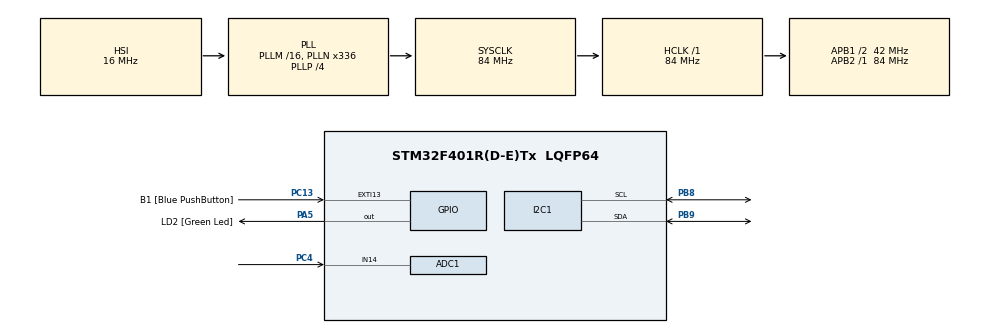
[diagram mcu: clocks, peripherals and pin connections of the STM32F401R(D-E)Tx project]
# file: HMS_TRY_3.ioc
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ADC1.Channel-0\#ChannelRegularConversion=ADC_CHANNEL_14
ADC1.ContinuousConvMode=ENABLE
ADC1.NbrOfConversionFlag=1
ADC1.Rank-0\#ChannelRegularConversion=1
ADC1.SamplingTime-0\#ChannelRegularConversion=ADC_SAMPLETIME_3CYCLES
ADC1.master=1
Mcu.Family=STM32F4
Mcu.Name=STM32F401R(D-E)Tx
Mcu.Package=LQFP64
NVIC.PriorityGroup=NVIC_PRIORITYGROUP_0
PA13.GPIO_Label=TMS
PA13.Mode=Serial_Wire
PA13.Signal=SYS_JTMS-SWDIO
PA14.GPIO_Label=TCK
PA14.Mode=Serial_Wire
PA14.Signal=SYS_JTCK-SWCLK
PA5.GPIO_Label=LD2 [Green Led]
PA5.GPIO_Mode=GPIO_MODE_OUTPUT_PP
PA5.GPIO_PuPd=GPIO_NOPULL
PA5.GPIO_Speed=GPIO_SPEED_FREQ_LOW
PA5.Signal=GPIO_Output
PB3.GPIO_Label=SWO
PB3.Signal=SYS_JTDO-SWO
PB8.GPIO_Pu=GPIO_PULLUP
PB8.Mode=I2C
PB8.Signal=I2C1_SCL
PB9.GPIO_Pu=GPIO_PULLUP
PB9.Mode=I2C
PB9.Signal=I2C1_SDA
PC13-ANTI_TAMP.GPIO_Label=B1 [Blue PushButton]
PC13-ANTI_TAMP.GPIO_ModeDefaultEXTI=GPIO_MODE_IT_FALLING
PC13-ANTI_TAMP.GPIO_PuPd=GPIO_NOPULL
PC13-ANTI_TAMP.Signal=GPXTI13
PC14-OSC32_IN.Mode=LSE-External-Oscillator
PC14-OSC32_IN.Signal=RCC_OSC32_IN
PC15-OSC32_OUT.Mode=LSE-External-Oscillator
PC15-OSC32_OUT.Signal=RCC_OSC32_OUT
PC4.Signal=ADCx_IN14
PH0\ -\ OSC_IN.Mode=HSE-External-Clock-Source
PH0\ -\ OSC_IN.Signal=RCC_OSC_IN
PH1\ -\ OSC_OUT.Mode=HSE-External-Clock-Source
PH1\ -\ OSC_OUT.Signal=RCC_OSC_OUT
ProjectManager.HeapSize=0x200
ProjectManager.StackSize=0x400
ProjectManager.TargetToolchain=STM32CubeIDE
RCC.48MHZClocksFreq_Value=48000000
RCC.AHBFreq_Value=84000000
RCC.APB1CLKDivider=RCC_HCLK_DIV2
RCC.APB1Freq_Value=42000000
RCC.APB1TimFreq_Value=84000000
RCC.APB2Freq_Value=84000000
RCC.APB2TimFreq_Value=84000000
RCC.CortexFreq_Value=84000000
RCC.HCLKFreq_Value=84000000
RCC.HSE_VALUE=8000000
RCC.HSI_VALUE=16000000
RCC.PLLN=336
RCC.PLLP=RCC_PLLP_DIV4
RCC.PLLQ=7
RCC.SYSCLKFreq_VALUE=84000000
RCC.SYSCLKSource=RCC_SYSCLKSOURCE_PLLCLK
RCC.VCOOutputFreq_Value=336000000
SH.ADCx_IN14.0=ADC1_IN14,IN14
board=NUCLEO-F401RE

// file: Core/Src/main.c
/* USER CODE BEGIN Header */
/**
 ******************************************************************************
 * @file           : main.c
 * @brief          : Main program body
 ******************************************************************************
 * @attention
 *
 * Copyright (c) 2023 STMicroelectronics.
 * All rights reserved.
 *
 * This software is licensed under terms that can be found in the LICENSE file
 * in the root directory of this software component.
 * If no LICENSE file comes with this software, it is provided AS-IS.
 *
 ******************************************************************************
 */
/* USER CODE END Header */
#include "main.h"

/* USER CODE BEGIN Includes */
#include "BML_DEF.h"
#include "uart.h"
#include "MLX90614.h"
#include "max30100.h"
#include "st7783.h"
/* USER CODE END Includes */

/* USER CODE BEGIN PD */
#define PRINT_CHAR_LEN	100
/* USER CODE END PD */

/* USER CODE BEGIN PM */
#define BEAT_COUNTER_LIMIT	25
#define HR_BEAT_TIMEOUT		60000

#define graphRefreshRate_peak			2
#define graphRefreshRate_normal			5
/* USER CODE END PM */

ADC_HandleTypeDef hadc1;

I2C_HandleTypeDef hi2c1;

/* USER CODE BEGIN PV */

char globalStr[25] = { '\0' };
float globalTemp = 1.00;
int globalHR = 1;
int globalSpO2 = 1;
int globalECG = 1;

int8_t menu_select_flag = -1;

//======== MLX90614 Variables ==========//
float temp = 0;
//======================================//

//=========== ECG Variables ============//
int16_t adcData = 0;
int16_t adcDataPrev = 0;
int ECG_HR = 0;
//======================================//

//======== MAX30100 Variables ==========//
max30100_config_t max30100 = { 0 };
uint8_t beatCounter = 0;
int16_t finalHR = 0;
int16_t finalSpO2 = 0;
uint16_t hrBeatTimer = 0;

bool max30100_off = true;
bool max30100_on = false;
//======================================//

const int graph_x0 = 30;
const int graph_y0 = (2 * (TFTHEIGHT / 3)) + 30;
const int graph_x1 = 30;
const int graph_y1 = graph_y0 + 50;
const int graph_x2 = graph_x0 + TFTWIDTH - 95;
const int graph_y2 = graph_y0;
const int graph_x3 = graph_x0 + TFTWIDTH - 95;
const int graph_y3 = graph_y0 + 50;
int graph_x = graph_x0;
int graph_y = 0;
int graph_y_prevVal = 0;
int graph_refresh_x = graph_x0;

/* USER CODE END PV */

void SystemClock_Config(void);
static void MX_GPIO_Init(void);
static void MX_I2C1_Init(void);
static void MX_ADC1_Init(void);
/* USER CODE BEGIN PFP */
void HMS_bgdisplay(void);

void LCD_ECGAnimation();
void ecgPeak();
void ecgLine();
/* USER CODE END PFP */

int main(void) {

	/* MCU Configuration--------------------------------------------------------*/

	/* Reset of all peripherals, Initializes the Flash interface and the Systick. */
	HAL_Init();

	/* Configure the system clock */
	SystemClock_Config();

	/* Initialize all configured peripherals */
	MX_GPIO_Init();
	MX_I2C1_Init();
	MX_ADC1_Init();
	/* USER CODE BEGIN 2 */
	uart_print_config(9600);
	USART_INIT(USART6, PORTA, PORTA, 11, 12, 115200);
//  USART_IT_EN(USART6, 0, 1, 0);
	print("Working\r\n");

	LCD_Begin();
	LCD_SetRotation(0);
	//	LCD_FillScreen(BLACK);
	colorgradient(0, 0, TFTWIDTH, TFTHEIGHT, 50);
	HMS_bgdisplay();

	gpio_config(PORTC, 9, INPUT_MODE, LOW_SPEED, EN_PU, PHPL);
	gpio_IT_config(PORTC, 9, FALLING_EDGE);
	gpio_IT_EN(9, EXTI9_5_IRQn);

	uint8_t mlx90614_workingFlag = 1, mlx90614_status = 0;

	char print_char[PRINT_CHAR_LEN] = { 0 };

	if (!(mlx90614_init())) {
		print("Error in MLX90614 INIT\n");
		mlx90614_workingFlag = 0;
	}

	uint32_t max30100_startTime = HAL_GetTick(), max30100_lapsedTime = 500;
	uint32_t temp_startTime = HAL_GetTick(), temp_lapsedTime = 500;
	uint32_t ecg_startTime = HAL_GetTick(), ecg_lapsedTime = 60000;
	uint32_t wifi_startTime = HAL_GetTick(), wifi_lapsedTime = 2000;
	max30100_data_t result = { };

	/* USER CODE END 2 */

	/* Infinite loop */
	/* USER CODE BEGIN WHILE */
	while (1) {
		if (menu_select_flag == 0) {
			if (mlx90614_workingFlag == 1) {
				mlx90614_status = mlx90614_getObject1(&temp);
				if ((mlx90614_status == true)
						&& ((HAL_GetTick() - temp_startTime) > temp_lapsedTime)) {
					print("Temp in Celsius: = %0.2f\n", temp);
					if ((temp > 0) && (temp < 100)) {
						LCD_SetTextColor(WHITE, BLUE);
						LCD_SetCursor(130, (TFTHEIGHT / 3) + 80);
						LCD_SetTextSize(2);
						LCD_Printf("%0.2f'C", temp);
						globalTemp = temp;
					}
					temp_startTime = HAL_GetTick();
//					Delay(500);
				} else {
					mlx90614_workingFlag = 0;
				}
			} else {
				if (!(mlx90614_init())) {
					print("Error in MLX90614 INIT\n");
					MX_I2C1_Init();
					Delay(500);
					mlx90614_workingFlag = 0;
				} else {
					mlx90614_workingFlag = 1;
				}
			}
		} else if (menu_select_flag == 1) {
			if (max30100_update(&max30100, &result) != HAL_OK) {
				print("Error Reading...Retrying\n");
				MX_I2C1_Init();
				max30100_init(&max30100, &hi2c1,
				MAX30100_DEFAULT_OPERATING_MODE,
				MAX30100_DEFAULT_SAMPLING_RATE,
				MAX30100_DEFAULT_LED_PULSE_WIDTH,
				MAX30100_DEFAULT_IR_LED_CURRENT,
				MAX30100_DEFAULT_START_RED_LED_CURRENT,
				MAX30100_DEFAULT_MEAN_FILTER_SIZE,
				MAX30100_DEFAULT_PULSE_BPM_SAMPLE_SIZE,
				true,
				false);
//				max30100_resume(&max30100);
				Delay(1000);
			} else {
				if (max30100_off) {
					max30100_resume(&max30100);
					max30100_off = false;
					max30100_on = true;
				}
				hrBeatTimer = HAL_GetTick();
				if (result.pulse_detected) {
					print("BEAT: %d\n", beatCounter++);
				}
				if (HAL_GetTick() - max30100_startTime > max30100_lapsedTime) {
					if (result.ir_dc_value < 10000.00) {
						print("No finger Detected\n");
						max30100.current_bpm = 0.0;
						max30100.current_spO2 = 0.0;
					} else {
						if (beatCounter < BEAT_COUNTER_LIMIT) {
							print("BPM: %0.2f | SpO2: %0.2f%%\n",
									result.heart_bpm, result.spO2);
						} else if (beatCounter > BEAT_COUNTER_LIMIT) {
							finalHR = result.heart_bpm;
							finalSpO2 = result.spO2;
							print(
									"//===============| Final HR: %d | SpO2: %d%%|==============//\n",
									finalHR, finalSpO2);
							beatCounter = 0;

							if ((finalHR > 0) && (finalHR < 100)) {
								globalHR = finalHR;
								LCD_SetTextColor(WHITE, RED);
								LCD_SetCursor(155, (TFTHEIGHT / 3) + 20);
								LCD_SetTextSize(2);
								LCD_Printf("%dBPM", globalHR);
							}
							if ((finalSpO2 > 0) && (finalSpO2 < 100)) {
								globalSpO2 = finalSpO2;
								LCD_SetTextColor(WHITE, GREEN);
								LCD_SetCursor(175, (TFTHEIGHT / 3) + 50);
								LCD_Printf("%d%%", finalSpO2);
							}
						}
//						else if ((HAL_GetTick() - hrBeatTimer)
//								> HR_BEAT_TIMEOUT) {
//							print("Error Calculating...\n\r");
//							print("Please reposition your finger\n\r");
//						}

					}

					max30100_startTime = HAL_GetTick();
				}
				HAL_Delay(10);

//				print("%0.2f, %0.2f\n", result.dc_filtered_ir,
//						result.dc_filtered_red);
			}
		} else if (menu_select_flag == 2) {
			if (max30100_on) {
				max30100_shutdown(&max30100);
				HAL_I2C_DeInit(&hi2c1);
				max30100_off = true;
				max30100_on = false;
			}
			adcDataPrev = adcData;
			HAL_ADC_Start(&hadc1);
			HAL_ADC_PollForConversion(&hadc1, 100);
			adcData = (uint16_t) HAL_ADC_GetValue(&hadc1);
			sprintf(print_char, "Analog Val: %d\n", adcData);
			USART_WRITE(USART2, print_char, strlen(print_char), 10);

			if ((adcData - adcDataPrev) > 800) {
				ECG_HR += 1;
			}

//			LCD_ECGAnimation();

			if ((HAL_GetTick() - ecg_startTime) > ecg_lapsedTime) {
				if ((ECG_HR > 0) && (ECG_HR < 100))
					globalECG = ECG_HR;

				sprintf(print_char,
						"<===========|The ECG Heart Rate is: %d|=========>\r\n",
						ECG_HR);
				USART_WRITE(USART2, print_char, strlen(print_char), 10);
				LCD_SetTextColor(BLACK, WHITE);
				LCD_SetCursor(190, 270);
				LCD_SetTextSize(2);
				if (globalECG < 10)
					LCD_Printf(" %d", globalECG);
				else if(globalECG < 100)
					LCD_Printf("%d", globalECG);
				ECG_HR = 0;
				LCD_ECGAnimation();
				ecg_startTime = HAL_GetTick();
			}

		} else if ((menu_select_flag < -1) && (menu_select_flag > 3)) {
			menu_select_flag = -1;
			print("Oh no, a Glitch!!\n\r");
			Delay(500);
			print("We're good\n\r");
			Delay(500);
		}

		if ((HAL_GetTick() - wifi_startTime) > wifi_lapsedTime) {
			sprintf(globalStr, "T:%0.2f|H:%d|S:%d|E:%d\r\n", globalTemp,
					globalHR, globalSpO2, globalECG);
			USART_WRITE(USART6, globalStr, strlen(globalStr), 10);
			wifi_startTime = HAL_GetTick();
		}

		/* USER CODE END WHILE */

	}
}

void SystemClock_Config(void) {
	RCC_OscInitTypeDef RCC_OscInitStruct = { 0 };
	RCC_ClkInitTypeDef RCC_ClkInitStruct = { 0 };

	/** Configure the main internal regulator output voltage
	 */
	__HAL_RCC_PWR_CLK_ENABLE();
	__HAL_PWR_VOLTAGESCALING_CONFIG(PWR_REGULATOR_VOLTAGE_SCALE2);

	/** Initializes the RCC Oscillators according to the specified parameters
	 * in the RCC_OscInitTypeDef structure.
	 */
	RCC_OscInitStruct.OscillatorType = RCC_OSCILLATORTYPE_HSI;
	RCC_OscInitStruct.HSIState = RCC_HSI_ON;
	RCC_OscInitStruct.HSICalibrationValue = RCC_HSICALIBRATION_DEFAULT;
	RCC_OscInitStruct.PLL.PLLState = RCC_PLL_ON;
	RCC_OscInitStruct.PLL.PLLSource = RCC_PLLSOURCE_HSI;
	RCC_OscInitStruct.PLL.PLLM = 16;
	RCC_OscInitStruct.PLL.PLLN = 336;
	RCC_OscInitStruct.PLL.PLLP = RCC_PLLP_DIV4;
	RCC_OscInitStruct.PLL.PLLQ = 7;
	if (HAL_RCC_OscConfig(&RCC_OscInitStruct) != HAL_OK) {
		Error_Handler();
	}

	/** Initializes the CPU, AHB and APB buses clocks
	 */
	RCC_ClkInitStruct.ClockType = RCC_CLOCKTYPE_HCLK | RCC_CLOCKTYPE_SYSCLK
			| RCC_CLOCKTYPE_PCLK1 | RCC_CLOCKTYPE_PCLK2;
	RCC_ClkInitStruct.SYSCLKSource = RCC_SYSCLKSOURCE_PLLCLK;
	RCC_ClkInitStruct.AHBCLKDivider = RCC_SYSCLK_DIV1;
	RCC_ClkInitStruct.APB1CLKDivider = RCC_HCLK_DIV2;
	RCC_ClkInitStruct.APB2CLKDivider = RCC_HCLK_DIV1;

	if (HAL_RCC_ClockConfig(&RCC_ClkInitStruct, FLASH_LATENCY_2) != HAL_OK) {
		Error_Handler();
	}
}

static void MX_ADC1_Init(void) {

	ADC_ChannelConfTypeDef sConfig = { 0 };

	/** Configure the global features of the ADC (Clock, Resolution, Data Alignment and number of conversion)
	 */
	hadc1.Instance = ADC1;
	hadc1.Init.ClockPrescaler = ADC_CLOCK_SYNC_PCLK_DIV4;
	hadc1.Init.Resolution = ADC_RESOLUTION_12B;
	hadc1.Init.ScanConvMode = DISABLE;
	hadc1.Init.ContinuousConvMode = ENABLE;
	hadc1.Init.DiscontinuousConvMode = DISABLE;
	hadc1.Init.ExternalTrigConvEdge = ADC_EXTERNALTRIGCONVEDGE_NONE;
	hadc1.Init.ExternalTrigConv = ADC_SOFTWARE_START;
	hadc1.Init.DataAlign = ADC_DATAALIGN_RIGHT;
	hadc1.Init.NbrOfConversion = 1;
	hadc1.Init.DMAContinuousRequests = DISABLE;
	hadc1.Init.EOCSelection = ADC_EOC_SINGLE_CONV;
	if (HAL_ADC_Init(&hadc1) != HAL_OK) {
		Error_Handler();
	}

	/** Configure for the selected ADC regular channel its corresponding rank in the sequencer and its sample time.
	 */
	sConfig.Channel = ADC_CHANNEL_14;
	sConfig.Rank = 1;
	sConfig.SamplingTime = ADC_SAMPLETIME_3CYCLES;
	if (HAL_ADC_ConfigChannel(&hadc1, &sConfig) != HAL_OK) {
		Error_Handler();
	}

}

static void MX_I2C1_Init(void) {

	hi2c1.Instance = I2C1;
	hi2c1.Init.ClockSpeed = 100000;
	hi2c1.Init.DutyCycle = I2C_DUTYCYCLE_2;
	hi2c1.Init.OwnAddress1 = 0;
	hi2c1.Init.AddressingMode = I2C_ADDRESSINGMODE_7BIT;
	hi2c1.Init.DualAddressMode = I2C_DUALADDRESS_DISABLE;
	hi2c1.Init.OwnAddress2 = 0;
	hi2c1.Init.GeneralCallMode = I2C_GENERALCALL_DISABLE;
	hi2c1.Init.NoStretchMode = I2C_NOSTRETCH_DISABLE;
	if (HAL_I2C_Init(&hi2c1) != HAL_OK) {
		Error_Handler();
	}

}

static void MX_GPIO_Init(void) {
	GPIO_InitTypeDef GPIO_InitStruct = { 0 };

	/* GPIO Ports Clock Enable */
	__HAL_RCC_GPIOC_CLK_ENABLE();
	__HAL_RCC_GPIOH_CLK_ENABLE();
	__HAL_RCC_GPIOA_CLK_ENABLE();
	__HAL_RCC_GPIOB_CLK_ENABLE();

	/*Configure GPIO pin Output Level */
	HAL_GPIO_WritePin(LD2_GPIO_Port, LD2_Pin, GPIO_PIN_RESET);

	/*Configure GPIO pin : B1_Pin */
	GPIO_InitStruct.Pin = B1_Pin;
	GPIO_InitStruct.Mode = GPIO_MODE_IT_FALLING;
	GPIO_InitStruct.Pull = GPIO_NOPULL;
	HAL_GPIO_Init(B1_GPIO_Port, &GPIO_InitStruct);

	/*Configure GPIO pin : LD2_Pin */
	GPIO_InitStruct.Pin = LD2_Pin;
	GPIO_InitStruct.Mode = GPIO_MODE_OUTPUT_PP;
	GPIO_InitStruct.Pull = GPIO_NOPULL;
	GPIO_InitStruct.Speed = GPIO_SPEED_FREQ_LOW;
	HAL_GPIO_Init(LD2_GPIO_Port, &GPIO_InitStruct);

}

/* USER CODE BEGIN 4 */

void HMS_bgdisplay(void) {

	//===================== | Border |===============================//
	for (uint16_t i = 5; i > 0; i--) {
		LCD_DrawRect(i, i, TFTWIDTH - 2 * i, TFTHEIGHT - 2 * i, WHITE);
	}

	LCD_DrawHBorder(0, TFTHEIGHT / 3, TFTWIDTH, WHITE, 5);
	LCD_DrawHBorder(0, 2 * (TFTHEIGHT / 3), TFTWIDTH, WHITE, 5);
	//===============================================================//

	//===================== | Box 1 |===============================//

	LCD_DrawButton1(" ", 20, 20, TFTWIDTH - 40, (TFTHEIGHT / 3) - 40, 10, CYAN,
	WHITE, 0, 2, 2, 2);

	LCD_SetTextSize(2);
	LCD_SetTextColor(WHITE, CYAN);
	LCD_SetCursor(((TFTWIDTH - 20) / 3) + 15, 25);
	LCD_Printf("Health");
	LCD_SetCursor(((TFTWIDTH - 20) / 3) - 10, 45);
	LCD_Printf("Monitoring");
	LCD_SetCursor(((TFTWIDTH - 20) / 3) + 15, 65);
	LCD_Printf("System");

	//===============================================================//

	//===================== | Box 2 |===============================//

	LCD_FillRoundRect(15, (TFTHEIGHT / 3) + 15, TFTWIDTH - 35, 25, 5, RED);
	LCD_SetTextColor(WHITE, RED);
	LCD_SetCursor(20, (TFTHEIGHT / 3) + 20);
	LCD_SetTextSize(2);
	LCD_Printf("H.Rate: ");

	LCD_FillRoundRect(15, (TFTHEIGHT / 3) + 45, TFTWIDTH - 35, 25, 5, GREEN);
	LCD_SetTextColor(WHITE, GREEN);
	LCD_SetCursor(20, (TFTHEIGHT / 3) + 50);
	LCD_SetTextSize(2);
	LCD_Printf("SpO2: ");

	LCD_FillRoundRect(15, (TFTHEIGHT / 3) + 75, TFTWIDTH - 35, 25, 5, BLUE);
	LCD_SetTextColor(WHITE, BLUE);
	LCD_SetCursor(20, (TFTHEIGHT / 3) + 80);
	LCD_SetTextSize(2);
	LCD_Printf("Temp: ");

	//===============================================================//

	//========================= | Box 3 |============================//

	LCD_FillRect(20, (2 * (TFTHEIGHT / 3)) + 20, TFTWIDTH - 35, 70, WHITE);

	//===============================================================//

	for(int i = 4; i > 0; i--)
		LCD_ECGAnimation();

	LCD_SetTextColor(BLACK, WHITE);
	LCD_SetCursor(180, 240);
	LCD_SetTextSize(2);
	LCD_Printf("ECG");

}

void ecgPeak() {
	LCD_DrawLine(graph_x, graph_y0 + 25, graph_x + graphRefreshRate_peak,
			graph_y0 + 25, RED);
	LCD_DrawLine(graph_x, graph_y0 + 26, graph_x + graphRefreshRate_peak,
			graph_y0 + 26, RED);
	graph_x += graphRefreshRate_peak;
	LCD_DrawLine(graph_x, graph_y0 + 25, graph_x + graphRefreshRate_peak,
			graph_y0 + 25, RED);
	LCD_DrawLine(graph_x, graph_y0 + 26, graph_x + graphRefreshRate_peak,
			graph_y0 + 26, RED);
	graph_x += graphRefreshRate_peak;
	LCD_DrawLine(graph_x, graph_y0 + 25, graph_x + graphRefreshRate_peak,
			graph_y0 + 25, RED);
	LCD_DrawLine(graph_x, graph_y0 + 26, graph_x + graphRefreshRate_peak,
			graph_y0 + 26, RED);
	graph_x += graphRefreshRate_peak;

	LCD_DrawLine(graph_x, graph_y0 + 25, graph_x + graphRefreshRate_peak,
			graph_y0 + 40, RED);
	LCD_DrawLine(graph_x, graph_y0 + 26, graph_x + graphRefreshRate_peak,
			graph_y0 + 41, RED);
	graph_x += graphRefreshRate_peak;
	LCD_DrawLine(graph_x, graph_y0 + 40, graph_x + graphRefreshRate_peak,
			graph_y0, RED);
	LCD_DrawLine(graph_x, graph_y0 + 41, graph_x + graphRefreshRate_peak,
			graph_y0 + 1, RED);
	graph_x += graphRefreshRate_peak;
	LCD_DrawLine(graph_x, graph_y0, graph_x + graphRefreshRate_peak,
			graph_y0 + 25, RED);
	LCD_DrawLine(graph_x, graph_y0 + 1, graph_x + graphRefreshRate_peak,
			graph_y0 + 26, RED);
	graph_x += graphRefreshRate_peak;

	LCD_DrawLine(graph_x, graph_y0 + 25, graph_x + graphRefreshRate_peak,
			graph_y0 + 25, RED);
	LCD_DrawLine(graph_x, graph_y0 + 26, graph_x + graphRefreshRate_peak,
			graph_y0 + 26, RED);
	graph_x += graphRefreshRate_peak;
	LCD_DrawLine(graph_x, graph_y0 + 25, graph_x + graphRefreshRate_peak,
			graph_y0 + 25, RED);
	LCD_DrawLine(graph_x, graph_y0 + 26, graph_x + graphRefreshRate_peak,
			graph_y0 + 26, RED);
	graph_x += graphRefreshRate_peak;
	LCD_DrawLine(graph_x, graph_y0 + 25, graph_x + graphRefreshRate_peak,
			graph_y0 + 25, RED);
	LCD_DrawLine(graph_x, graph_y0 + 26, graph_x + graphRefreshRate_peak,
			graph_y0 + 26, RED);
}

void ecgLine() {
	for (uint8_t i = 0; i < 3; i++) {
		LCD_DrawLine(graph_x, graph_y0 + 25, graph_x + graphRefreshRate_peak,
				graph_y0 + 25, RED);
		LCD_DrawLine(graph_x, graph_y0 + 26, graph_x + graphRefreshRate_peak,
				graph_y0 + 26, RED);
		graph_x += graphRefreshRate_peak;
		LCD_DrawLine(graph_x, graph_y0 + 25, graph_x + graphRefreshRate_peak,
				graph_y0 + 25, RED);
		LCD_DrawLine(graph_x, graph_y0 + 26, graph_x + graphRefreshRate_peak,
				graph_y0 + 26, RED);
		graph_x += graphRefreshRate_peak;
		LCD_DrawLine(graph_x, graph_y0 + 25, graph_x + graphRefreshRate_peak,
				graph_y0 + 25, RED);
		LCD_DrawLine(graph_x, graph_y0 + 26, graph_x + graphRefreshRate_peak,
				graph_y0 + 26, RED);
	}
}

void LCD_ECGAnimation() {
	ecgLine();

	int a = graph_x;
	if (a + graphRefreshRate_peak >= graph_x2 - 25) {
		LCD_FillRect(20, (2 * (TFTHEIGHT / 3)) + 20, TFTWIDTH - 80, 70, WHITE);
		graph_x = graph_x0;
	} else {
		graph_x += graphRefreshRate_peak;
	}

	ecgPeak();
}

void EXTI9_5_IRQHandler() {
	if (gpio_IT_CHK(9)) {
		for (int i = 2000000; i > 0; i--)
			;
		menu_select_flag = (menu_select_flag + 1) % 3;
		gpio_IT_CLR(9);
	}
}
/* USER CODE END 4 */

void Error_Handler(void) {
	__disable_irq();
	while (1) {
	}
}
